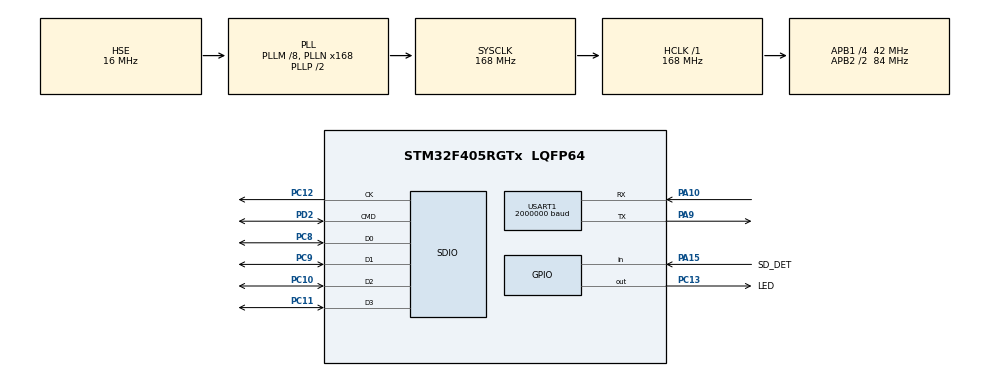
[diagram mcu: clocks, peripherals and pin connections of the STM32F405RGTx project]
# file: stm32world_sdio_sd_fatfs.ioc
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Dma.Request0=SDIO_RX
Dma.Request1=SDIO_TX
Dma.SDIO_RX.0.Direction=DMA_PERIPH_TO_MEMORY
Dma.SDIO_RX.0.FIFOMode=DMA_FIFOMODE_ENABLE
Dma.SDIO_RX.0.FIFOThreshold=DMA_FIFO_THRESHOLD_FULL
Dma.SDIO_RX.0.Instance=DMA2_Stream3
Dma.SDIO_RX.0.MemBurst=DMA_MBURST_INC4
Dma.SDIO_RX.0.MemDataAlignment=DMA_MDATAALIGN_WORD
Dma.SDIO_RX.0.MemInc=DMA_MINC_ENABLE
Dma.SDIO_RX.0.Mode=DMA_PFCTRL
Dma.SDIO_RX.0.PeriphBurst=DMA_PBURST_INC4
Dma.SDIO_RX.0.PeriphDataAlignment=DMA_PDATAALIGN_WORD
Dma.SDIO_RX.0.PeriphInc=DMA_PINC_DISABLE
Dma.SDIO_RX.0.Priority=DMA_PRIORITY_LOW
Dma.SDIO_TX.1.Direction=DMA_MEMORY_TO_PERIPH
Dma.SDIO_TX.1.FIFOMode=DMA_FIFOMODE_ENABLE
Dma.SDIO_TX.1.FIFOThreshold=DMA_FIFO_THRESHOLD_FULL
Dma.SDIO_TX.1.Instance=DMA2_Stream6
Dma.SDIO_TX.1.MemBurst=DMA_MBURST_INC4
Dma.SDIO_TX.1.MemDataAlignment=DMA_MDATAALIGN_WORD
Dma.SDIO_TX.1.MemInc=DMA_MINC_ENABLE
Dma.SDIO_TX.1.Mode=DMA_PFCTRL
Dma.SDIO_TX.1.PeriphBurst=DMA_PBURST_INC4
Dma.SDIO_TX.1.PeriphDataAlignment=DMA_PDATAALIGN_WORD
Dma.SDIO_TX.1.PeriphInc=DMA_PINC_DISABLE
Dma.SDIO_TX.1.Priority=DMA_PRIORITY_LOW
FATFS.BSP.number=1
FATFS.USE_DMA_CODE_SD=1
FATFS._FS_EXFAT=1
FATFS._FS_LOCK=10
FATFS._FS_TIMEOUT=2000
FATFS._MAX_SS=4096
FATFS._MULTI_PARTITION=0
FATFS._USE_CHMOD=1
FATFS._USE_EXPAND=1
FATFS._USE_FIND=1
FATFS._USE_FORWARD=1
FATFS._USE_LABEL=1
FATFS._USE_LFN=1
FATFS._USE_TRIM=1
FATFS0.BSP.STBoard=false
FATFS0.BSP.api=Unknown
FATFS0.BSP.instance=PA15
FATFS0.BSP.ip=GPIO
FATFS0.BSP.mode=Input
FATFS0.BSP.name=Detect_SDIO
FATFS0.BSP.solution=PA15
Mcu.Family=STM32F4
Mcu.Name=STM32F405RGTx
Mcu.Package=LQFP64
NVIC.DMA2_Stream3_IRQn=true\:0\:0\:false\:false\:true\:false\:true\:true
NVIC.DMA2_Stream6_IRQn=true\:0\:0\:false\:false\:true\:false\:true\:true
NVIC.PriorityGroup=NVIC_PRIORITYGROUP_4
NVIC.SDIO_IRQn=true\:0\:0\:false\:false\:true\:true\:true\:true
PA10.Mode=Asynchronous
PA10.Signal=USART1_RX
PA13.Mode=Trace_Asynchronous_SW
PA13.Signal=SYS_JTMS-SWDIO
PA14.Mode=Trace_Asynchronous_SW
PA14.Signal=SYS_JTCK-SWCLK
PA15.GPIO_Label=SD_DET
PA15.GPIO_PuPd=GPIO_PULLDOWN
PA15.Signal=GPIO_Input
PA9.Mode=Asynchronous
PA9.Signal=USART1_TX
PB3.Mode=Trace_Asynchronous_SW
PB3.Signal=SYS_JTDO-SWO
PC10.GPIO_PuPd=GPIO_PULLUP
PC10.Mode=SD_4_bits_Wide_bus
PC10.Signal=SDIO_D2
PC11.GPIO_PuPd=GPIO_PULLUP
PC11.Mode=SD_4_bits_Wide_bus
PC11.Signal=SDIO_D3
PC12.Mode=SD_4_bits_Wide_bus
PC12.Signal=SDIO_CK
PC13-ANTI_TAMP.GPIO_Label=LED
PC13-ANTI_TAMP.GPIO_ModeDefaultOutputPP=GPIO_MODE_OUTPUT_OD
PC13-ANTI_TAMP.GPIO_PuPd=GPIO_NOPULL
PC13-ANTI_TAMP.PinState=GPIO_PIN_SET
PC13-ANTI_TAMP.Signal=GPIO_Output
PC8.GPIO_PuPd=GPIO_PULLUP
PC8.Mode=SD_4_bits_Wide_bus
PC8.Signal=SDIO_D0
PC9.GPIO_PuPd=GPIO_PULLUP
PC9.Mode=SD_4_bits_Wide_bus
PC9.Signal=SDIO_D1
PD2.GPIO_PuPd=GPIO_PULLUP
PD2.Mode=SD_4_bits_Wide_bus
PD2.Signal=SDIO_CMD
PH0-OSC_IN.Mode=HSE-External-Oscillator
PH0-OSC_IN.Signal=RCC_OSC_IN
PH1-OSC_OUT.Mode=HSE-External-Oscillator
PH1-OSC_OUT.Signal=RCC_OSC_OUT
ProjectManager.HeapSize=0x200
ProjectManager.StackSize=0x200
ProjectManager.TargetToolchain=STM32CubeIDE
RCC.48MHZClocksFreq_Value=48000000
RCC.AHBFreq_Value=168000000
RCC.APB1CLKDivider=RCC_HCLK_DIV4
RCC.APB1Freq_Value=42000000
RCC.APB1TimFreq_Value=84000000
RCC.APB2CLKDivider=RCC_HCLK_DIV2
RCC.APB2Freq_Value=84000000
RCC.APB2TimFreq_Value=168000000
RCC.CortexFreq_Value=168000000
RCC.HCLKFreq_Value=168000000
RCC.HSE_VALUE=16000000
RCC.HSI_VALUE=16000000
RCC.LSE_VALUE=32768
RCC.PLLM=8
RCC.PLLN=168
RCC.PLLQ=7
RCC.PLLSourceVirtual=RCC_PLLSOURCE_HSE
RCC.SYSCLKFreq_VALUE=168000000
RCC.SYSCLKSource=RCC_SYSCLKSOURCE_PLLCLK
RCC.VCOOutputFreq_Value=336000000
SDIO.ClockBypass=SDIO_CLOCK_BYPASS_DISABLE
SDIO.ClockDiv=3
SDIO.ClockPowerSave=SDIO_CLOCK_POWER_SAVE_DISABLE
USART1.BaudRate=2000000
USART1.VirtualMode=VM_ASYNC
VP_FATFS_VS_SDIO.Mode=SDIO
board=custom

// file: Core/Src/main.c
/* USER CODE BEGIN Header */
/**
 ******************************************************************************
 * @file           : main.c
 * @brief          : Main program body
 ******************************************************************************
 * @attention
 *
 * Copyright (c) 2024 Lars Boegild Thomsen <lth@stm32world.com>
 * All rights reserved.
 *
 * This software is licensed under terms that can be found in the LICENSE file
 * in the root directory of this software component.
 * If no LICENSE file comes with this software, it is provided AS-IS.
 *
 ******************************************************************************
 */
/* USER CODE END Header */
#include "main.h"
#include "fatfs.h"

/* USER CODE BEGIN Includes */
#include <stdio.h>
#include <string.h>
/* USER CODE END Includes */

SD_HandleTypeDef hsd;
DMA_HandleTypeDef hdma_sdio_rx;
DMA_HandleTypeDef hdma_sdio_tx;

UART_HandleTypeDef huart1;

/* USER CODE BEGIN PV */
const char total_uptime_filename[] = "uptime.dat";
const char tick_filename[] = "tick.txt";
const char big_filename[] = "big.dat";
uint32_t total_uptime;
/* USER CODE END PV */

void SystemClock_Config(void);
static void MX_GPIO_Init(void);
static void MX_DMA_Init(void);
static void MX_USART1_UART_Init(void);
static void MX_SDIO_SD_Init(void);

/* USER CODE BEGIN 0 */

// Send printf to uart1
int _write(int fd, char *ptr, int len) {
    HAL_StatusTypeDef hstatus;

    if (fd == 1 || fd == 2) {
        hstatus = HAL_UART_Transmit(&huart1, (uint8_t*) ptr, len, HAL_MAX_DELAY);
        if (hstatus == HAL_OK)
            return len;
        else
            return -1;
    }
    return -1;
}

uint8_t BSP_SD_IsDetected(void)
{
    __IO uint8_t status = SD_PRESENT;

//    if (HAL_GPIO_ReadPin(SD_DETECT_GPIO_PORT, SD_DETECT_PIN) != GPIO_PIN_RESET) {
//        status = SD_NOT_PRESENT;
//    }

    return status;
}

void ls() {

    FRESULT res;
    DIR dir;
    char *path;

    path = ""; // where you want to list

    res = f_opendir(&dir, path);

#ifdef DEBUG
    if (res != FR_OK)
        printf("res = %d f_opendir\n", res);
#endif

    if (res == FR_OK) {
        while (1) {

            FILINFO fno;

            res = f_readdir(&dir, &fno);

#ifdef DEBUG
            if (res != FR_OK)
                printf("res = %d f_readdir\n", res);
#endif

            if ((res != FR_OK) || (fno.fname[0] == 0))
                break;

            printf("%c%c%c%c %10d %s/%s\n",
                    ((fno.fattrib & AM_DIR) ? 'D' : '-'),
                    ((fno.fattrib & AM_RDO) ? 'R' : '-'),
                    ((fno.fattrib & AM_SYS) ? 'S' : '-'),
                    ((fno.fattrib & AM_HID) ? 'H' : '-'),
                    (int) fno.fsize, path, fno.fname);
        }

    }

    uint32_t free_clusters;
    FATFS *fs_ptr;

    res = f_getfree("", &free_clusters, &fs_ptr);
    if (res == FR_OK) {
        uint32_t totalBlocks = (fs_ptr->n_fatent - 2) * fs_ptr->csize;
        uint32_t freeBlocks = free_clusters * fs_ptr->csize;

        printf("Total blocks: %lu (%lu Mb)\n", totalBlocks, totalBlocks / 2000);
        printf("Free blocks : %lu (%lu Mb)\n", freeBlocks, freeBlocks / 2000);
    } else {
        printf("Unable to get free space\n");
    }

}

/* USER CODE END 0 */

int main(void)
{

    /* MCU Configuration--------------------------------------------------------*/

    /* Reset of all peripherals, Initializes the Flash interface and the Systick. */
    HAL_Init();

    /* Configure the system clock */
    SystemClock_Config();

    /* Initialize all configured peripherals */
    MX_GPIO_Init();
    MX_DMA_Init();
    MX_USART1_UART_Init();
    MX_SDIO_SD_Init();
    MX_FATFS_Init();
    /* USER CODE BEGIN 2 */

    printf("\n\n\n\n--------\nStarting\n");

    printf("SD Card Information:\n");
    printf("Block size  : %lu\n", hsd.SdCard.BlockSize);
    printf("Block nmbr  : %lu\n", hsd.SdCard.BlockNbr);
    printf("Card size   : %lu\n", (hsd.SdCard.BlockSize * hsd.SdCard.BlockNbr) / 1000);
    printf("Card version: %lu\n", hsd.SdCard.CardVersion);

    uint32_t wbytes, rbytes;

    if (f_mount(&SDFatFS, (TCHAR const*) SDPath, 0) != FR_OK) {
        printf("Unable to mount disk\n");
        Error_Handler();
    }

    if (f_open(&SDFile, total_uptime_filename, FA_OPEN_EXISTING | FA_READ) == FR_OK) {
        if (f_read(&SDFile, &total_uptime, sizeof(total_uptime), (void*) &rbytes) == FR_OK) {
            printf("Total uptime = %lu\n", total_uptime);
            f_close(&SDFile);
        } else {
            printf("Unable to read\n");
            Error_Handler();
        }
    } else {
        // File did not exist - let's create it
        if (f_open(&SDFile, total_uptime_filename, FA_CREATE_ALWAYS | FA_WRITE) == FR_OK) {
            if (f_write(&SDFile, &total_uptime, sizeof(total_uptime), (void*) &wbytes) == FR_OK) {
                printf("File %s created\n", total_uptime_filename);
                f_close(&SDFile);
            } else {
                printf("Unable to write\n");
                Error_Handler();
            }
        } else {
            printf("Unable to create\n");
            Error_Handler();
        }
    }

    // Create tick file always
    if (f_open(&SDFile, tick_filename, FA_CREATE_ALWAYS | FA_WRITE) == FR_OK) {
        f_close(&SDFile);
    }

    uint8_t buf[1024]; // 1K buffer

    for (uint16_t i = 0; i < 1024; ++i) {
        buf[i] = (uint8_t) i;
    }

    uint32_t start = uwTick;
    if (f_open(&SDFile, big_filename, FA_CREATE_ALWAYS | FA_WRITE) == FR_OK) {
        for (uint16_t i = 0; i < 1 * 1024; ++i) {
            if (f_write(&SDFile, &buf, sizeof(buf), (void*) &wbytes) != FR_OK) {
                printf("Unable to write\n");
            }
        }
        f_close(&SDFile);
    } else {
        printf("Unable to open %s\n", big_filename);
    }
    printf("Write took %lu ms\n", uwTick - start);
    /* USER CODE END 2 */

    /* Infinite loop */
    /* USER CODE BEGIN WHILE */

    uint32_t now = 0, loop_cnt = 0, next_blink = 500, next_tick = 1000, next_ls = 10000;

    while (1) {

        now = uwTick;

        if (now >= next_blink) {
            HAL_GPIO_TogglePin(LED_GPIO_Port, LED_Pin);
            next_blink += 500;
        }

        if (now >= next_tick) {

            ++total_uptime;

            char s[128];

            sprintf(s, "Tick %lu (loop = %lu total = %lu)\n", now / 1000, loop_cnt, total_uptime);

            printf("%s", s);

            // Write tick line to file
            if (f_open(&SDFile, tick_filename, FA_OPEN_APPEND | FA_WRITE) == FR_OK) {
                if (f_write(&SDFile, &s, strlen(s) + 1, (void*) &wbytes) != FR_OK) {
                    printf("Unable to write\n");
                }
                f_close(&SDFile);
            } else {
                printf("Unable to open tick file\n");
            }

            // Update the total uptime file
            if (f_open(&SDFile, total_uptime_filename, FA_OPEN_EXISTING | FA_WRITE) == FR_OK) {
                if (f_write(&SDFile, &total_uptime, sizeof(total_uptime), (void*) &wbytes) != FR_OK) {
                    printf("Unable to write\n");
                }
                f_close(&SDFile);
            } else {
                printf("Unable to open file\n");
            }

            loop_cnt = 0;
            next_tick = now + 1000;
        }

        if (now >= next_ls) {

            uint32_t start = uwTick;
            uint32_t total = 0;
            if (f_open(&SDFile, big_filename, FA_OPEN_EXISTING | FA_READ) == FR_OK) {
                while (f_read(&SDFile, &buf, sizeof(buf), (void*) &rbytes) == FR_OK && rbytes == sizeof(buf)) {
                    total += rbytes;
                }
                f_close(&SDFile);
            } else {
                printf("Unable to open %s\n", big_filename);
            }
            printf("Read %lu bytes took %lu ms\n", total, uwTick - start);

            //ls();
            next_ls = now + 10000;
        }

        ++loop_cnt;

        /* USER CODE END WHILE */

    }
}

void SystemClock_Config(void)
{
    RCC_OscInitTypeDef RCC_OscInitStruct = { 0 };
    RCC_ClkInitTypeDef RCC_ClkInitStruct = { 0 };

    /** Configure the main internal regulator output voltage
     */
    __HAL_RCC_PWR_CLK_ENABLE();
    __HAL_PWR_VOLTAGESCALING_CONFIG(PWR_REGULATOR_VOLTAGE_SCALE1);

    /** Initializes the RCC Oscillators according to the specified parameters
     * in the RCC_OscInitTypeDef structure.
     */
    RCC_OscInitStruct.OscillatorType = RCC_OSCILLATORTYPE_HSE;
    RCC_OscInitStruct.HSEState = RCC_HSE_ON;
    RCC_OscInitStruct.PLL.PLLState = RCC_PLL_ON;
    RCC_OscInitStruct.PLL.PLLSource = RCC_PLLSOURCE_HSE;
    RCC_OscInitStruct.PLL.PLLM = 8;
    RCC_OscInitStruct.PLL.PLLN = 168;
    RCC_OscInitStruct.PLL.PLLP = RCC_PLLP_DIV2;
    RCC_OscInitStruct.PLL.PLLQ = 7;
    if (HAL_RCC_OscConfig(&RCC_OscInitStruct) != HAL_OK)
            {
        Error_Handler();
    }

    /** Initializes the CPU, AHB and APB buses clocks
     */
    RCC_ClkInitStruct.ClockType = RCC_CLOCKTYPE_HCLK | RCC_CLOCKTYPE_SYSCLK
            | RCC_CLOCKTYPE_PCLK1 | RCC_CLOCKTYPE_PCLK2;
    RCC_ClkInitStruct.SYSCLKSource = RCC_SYSCLKSOURCE_PLLCLK;
    RCC_ClkInitStruct.AHBCLKDivider = RCC_SYSCLK_DIV1;
    RCC_ClkInitStruct.APB1CLKDivider = RCC_HCLK_DIV4;
    RCC_ClkInitStruct.APB2CLKDivider = RCC_HCLK_DIV2;

    if (HAL_RCC_ClockConfig(&RCC_ClkInitStruct, FLASH_LATENCY_5) != HAL_OK)
            {
        Error_Handler();
    }
}

static void MX_SDIO_SD_Init(void)
{

    hsd.Instance = SDIO;
    hsd.Init.ClockEdge = SDIO_CLOCK_EDGE_RISING;
    hsd.Init.ClockBypass = SDIO_CLOCK_BYPASS_DISABLE;
    hsd.Init.ClockPowerSave = SDIO_CLOCK_POWER_SAVE_DISABLE;
    hsd.Init.BusWide = SDIO_BUS_WIDE_4B;
    hsd.Init.HardwareFlowControl = SDIO_HARDWARE_FLOW_CONTROL_DISABLE;
    hsd.Init.ClockDiv = 3;
    /* USER CODE BEGIN SDIO_Init 2 */

    // First init with 1B bus - SD card will not initialize with 4 bits
    hsd.Init.BusWide = SDIO_BUS_WIDE_1B;
    if (HAL_SD_Init(&hsd) != HAL_OK) {
        Error_Handler();
    }

    // Now we can switch to 4 bit mode
    if (HAL_SD_ConfigWideBusOperation(&hsd, SDIO_BUS_WIDE_4B) != HAL_OK) {
        Error_Handler();
    }

    /* USER CODE END SDIO_Init 2 */

}

static void MX_USART1_UART_Init(void)
{

    huart1.Instance = USART1;
    huart1.Init.BaudRate = 2000000;
    huart1.Init.WordLength = UART_WORDLENGTH_8B;
    huart1.Init.StopBits = UART_STOPBITS_1;
    huart1.Init.Parity = UART_PARITY_NONE;
    huart1.Init.Mode = UART_MODE_TX_RX;
    huart1.Init.HwFlowCtl = UART_HWCONTROL_NONE;
    huart1.Init.OverSampling = UART_OVERSAMPLING_16;
    if (HAL_UART_Init(&huart1) != HAL_OK)
            {
        Error_Handler();
    }

}

static void MX_DMA_Init(void)
{

    /* DMA controller clock enable */
    __HAL_RCC_DMA2_CLK_ENABLE();

    /* DMA interrupt init */
    /* DMA2_Stream3_IRQn interrupt configuration */
    HAL_NVIC_SetPriority(DMA2_Stream3_IRQn, 0, 0);
    HAL_NVIC_EnableIRQ(DMA2_Stream3_IRQn);
    /* DMA2_Stream6_IRQn interrupt configuration */
    HAL_NVIC_SetPriority(DMA2_Stream6_IRQn, 0, 0);
    HAL_NVIC_EnableIRQ(DMA2_Stream6_IRQn);

}

static void MX_GPIO_Init(void)
{
    GPIO_InitTypeDef GPIO_InitStruct = { 0 };

    /* GPIO Ports Clock Enable */
    __HAL_RCC_GPIOC_CLK_ENABLE();
    __HAL_RCC_GPIOH_CLK_ENABLE();
    __HAL_RCC_GPIOA_CLK_ENABLE();
    __HAL_RCC_GPIOD_CLK_ENABLE();
    __HAL_RCC_GPIOB_CLK_ENABLE();

    /*Configure GPIO pin Output Level */
    HAL_GPIO_WritePin(LED_GPIO_Port, LED_Pin, GPIO_PIN_SET);

    /*Configure GPIO pin : LED_Pin */
    GPIO_InitStruct.Pin = LED_Pin;
    GPIO_InitStruct.Mode = GPIO_MODE_OUTPUT_OD;
    GPIO_InitStruct.Pull = GPIO_NOPULL;
    GPIO_InitStruct.Speed = GPIO_SPEED_FREQ_LOW;
    HAL_GPIO_Init(LED_GPIO_Port, &GPIO_InitStruct);

    /*Configure GPIO pin : SD_DET_Pin */
    GPIO_InitStruct.Pin = SD_DET_Pin;
    GPIO_InitStruct.Mode = GPIO_MODE_INPUT;
    GPIO_InitStruct.Pull = GPIO_PULLDOWN;
    HAL_GPIO_Init(SD_DET_GPIO_Port, &GPIO_InitStruct);

}

void Error_Handler(void)
{
    __disable_irq();
    while (1)
    {
    }
}
